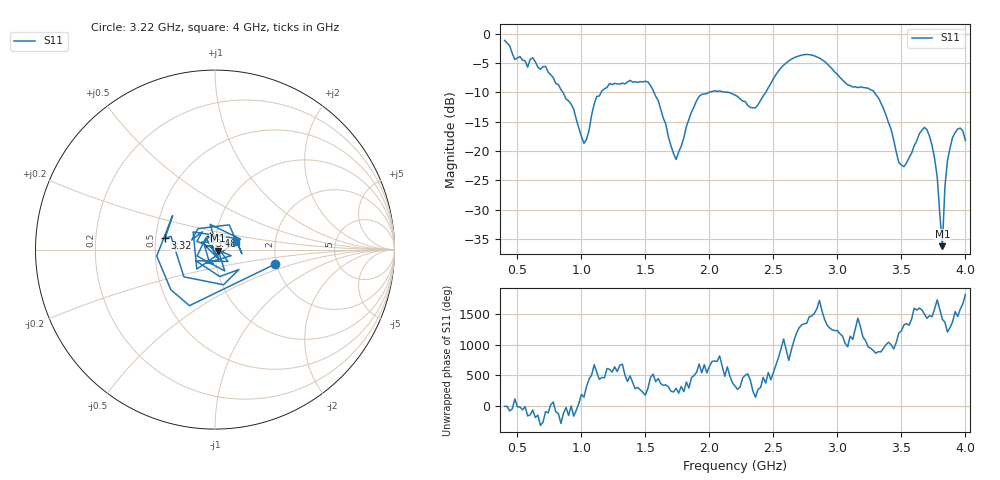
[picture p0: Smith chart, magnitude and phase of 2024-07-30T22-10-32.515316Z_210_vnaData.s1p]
!Created with skrf (http://scikit-rf.org).
# Hz S RI R 50.0
!freq ReS11 ImS11
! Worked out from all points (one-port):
!   181 points, 400 MHz to 4 GHz, reference 50 ohm
!   lowest |S11| = -36.2 dB at 3.82 GHz (marker M1), VSWR 1.03, Z = 51.4 - j0.642 ohm
!   |S11| at or under -10 dB: 855.1 MHz to 1.154 GHz (298.9 MHz wide, 29.8 % of centre); 1.567 GHz to 1.995 GHz (427.4 MHz wide, 24 % of centre); 3.288 GHz to end of sweep (the widest 3 of 4)
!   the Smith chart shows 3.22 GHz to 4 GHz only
!   S11 on the Smith chart (normalised r, x): 3.22 GHz: 1.97, -0.36; 3.32 GHz: 0.56, +0.08; 3.48 GHz: 0.93, +0.14; 4 GHz: 1.26, +0.10
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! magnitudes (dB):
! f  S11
! 400 MHz  -1.1
! 480 MHz  -4.4
! 720 MHz  -5.6
! 860 MHz  -10.2
! 1.02 GHz  -18.7
! 1.12 GHz  -10.7
! 1.3 GHz  -8.6
! 1.52 GHz  -8.2
! 1.74 GHz  -21.4
! 1.76 GHz  -20.2
! 1.92 GHz  -10.7
! 2.2 GHz  -10.5
! 2.36 GHz  -12.6
! 2.66 GHz  -4.1
! 2.86 GHz  -4.2
! 3.1 GHz  -8.8
! 3.22 GHz  -9.2
! 3.32 GHz  -10.9
! 3.48 GHz  -22.0
! 3.56 GHz  -21.1
! 3.68 GHz  -16.0
! 3.72 GHz  -17.5
! 3.78 GHz  -24.5
! 3.82 GHz  -36.2
! 3.84 GHz  -26.1
! 3.88 GHz  -19.5
! 3.94 GHz  -16.2
! 4 GHz  -18.2
